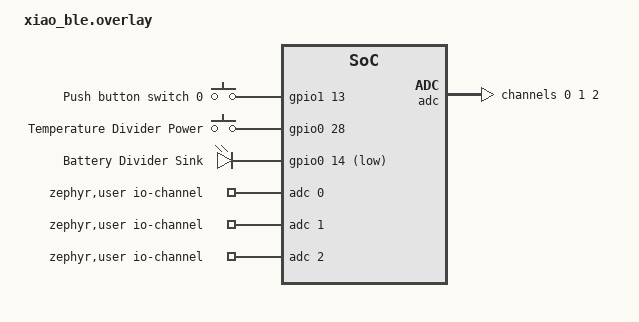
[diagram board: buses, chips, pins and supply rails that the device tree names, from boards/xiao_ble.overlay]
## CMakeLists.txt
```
#
# Copyright (c) 2021 Nordic Semiconductor ASA
#
# SPDX-License-Identifier: LicenseRef-Nordic-5-Clause
#

cmake_minimum_required(VERSION 3.20.0)

find_package(Zephyr REQUIRED HINTS $ENV{ZEPHYR_BASE})

project("Zigbee application template")

# NORDIC SDK APP START
target_sources(app PRIVATE
  src/main.c
  src/flash.c
)

target_include_directories(app PRIVATE include)
# NORDIC SDK APP END
```

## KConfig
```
# /Kconfig
# this is all you need!
source "Kconfig.zephyr"

menu "FART Sensor"

config REFERENCE_VOLTAGE
	int "The reference voltage"
	range 3000 5000
	default 0

endmenu
```

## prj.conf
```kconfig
#
# Copyright (c) 2021 Nordic Semiconductor ASA
#
# SPDX-License-Identifier: LicenseRef-Nordic-5-Clause
#
CONFIG_NCS_SAMPLES_DEFAULTS=n

CONFIG_UART_INTERRUPT_DRIVEN=y
CONFIG_GPIO=y

CONFIG_HEAP_MEM_POOL_SIZE=2048
CONFIG_MAIN_THREAD_PRIORITY=7

CONFIG_ZIGBEE=y
CONFIG_ZIGBEE_APP_UTILS=y
CONFIG_ZIGBEE_ROLE_ROUTER=n
CONFIG_ZIGBEE_ROLE_END_DEVICE=y

CONFIG_RAM_POWER_DOWN_LIBRARY=y

# Enable DK LED and Buttons library
CONFIG_DK_LIBRARY=y

# This example requires more workqueue stack
CONFIG_SYSTEM_WORKQUEUE_STACK_SIZE=2048

# Enable nRF ECB driver
CONFIG_CRYPTO=y
CONFIG_CRYPTO_NRF_ECB=y
CONFIG_CRYPTO_INIT_PRIORITY=80

# Networking
CONFIG_NET_IPV6=n
CONFIG_NET_IP_ADDR_CHECK=n

CONFIG_NEWLIB_LIBC=y
CONFIG_ADC=y
CONFIG_PWM=n

CONFIG_REFERENCE_VOLTAGE=3300

CONFIG_ZIGBEE_ENABLE_TRACES=n
CONFIG_ZIGBEE_CHANNEL_SELECTION_MODE_MULTI=y

# Switch all of these to n for production
CONFIG_SERIAL=y
CONFIG_CONSOLE=y
CONFIG_UART_CONSOLE=n
CONFIG_LOG_BACKEND_RTT=y
CONFIG_USE_SEGGER_RTT=y
CONFIG_LOG_MODE_IMMEDIATE=y
CONFIG_LOG=y
# end

CONFIG_LOG_BUFFER_SIZE=4048

# # Set to y for debug logging froM ZBoss. n for production
#CONFIG_ZIGBEE_APP_UTILS_LOG_LEVEL_DBG=n
CONFIG_ZBOSS_ERROR_PRINT_TO_LOG=y
# CONFIG_ZBOSS_TRACE_LOG_LEVEL_ERR=y
CONFIG_ZBOSS_TRACE_LOG_LEVEL_INF=y
# CONFIG_ZBOSS_OSIF_LOG_LEVEL_DBG=n
#end

CONFIG_PM_DEVICE=y
CONFIG_PM_CPU_OPS=y
CONFIG_PM_DEVICE_RUNTIME=y
CONFIG_PM_DEVICE_POWER_DOMAIN=y

CONFIG_FACTORY_RESET_PRESS_TIME_SECONDS=10

# From Power Down sample
CONFIG_NRFX_QSPI=y
CONFIG_USB_DEVICE_STACK=n # no in production
CONFIG_DEBUG_OPTIMIZATIONS=n
CONFIG_DEBUG_THREAD_INFO=n
```

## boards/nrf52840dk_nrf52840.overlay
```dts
/*
 * SPDX-License-Identifier: Apache-2.0
 *
 * Copyright (c) 2022 Nordic Semiconductor ASA
 */

/ {
	gpio_custom {
		compatible = "gpio-leds";
		battery_divider_sink: battery_divider_sink {
		  gpios = <&gpio0 14 GPIO_ACTIVE_LOW>;
		  label = "Battery Divider Sink";
		};
	};

	power {
		compatible = "gpio-keys";
		temperature_divider_power: temperature_divider_power {
			gpios = <&gpio0 28 (GPIO_PULL_DOWN | GPIO_ACTIVE_HIGH)>;
			label = "Temperature Divider Power";
		};
	};

	zephyr,user {
		io-channels = <&adc 0>, <&adc 1>, <&adc 2>;
	};
};

&adc {
	#address-cells = <1>;
	#size-cells = <0>;

	channel@0 {
		reg = <0>;
		zephyr,gain = "ADC_GAIN_1_5";
		zephyr,reference = "ADC_REF_INTERNAL";
		zephyr,acquisition-time = <ADC_ACQ_TIME_DEFAULT>;
		zephyr,input-positive = <NRF_SAADC_AIN1>;
		zephyr,resolution = <12>;
		zephyr,oversampling = <8>;
	};

	channel@1 {
		reg = <1>;
		zephyr,gain = "ADC_GAIN_1_5";
		zephyr,reference = "ADC_REF_INTERNAL";
		zephyr,acquisition-time = <ADC_ACQ_TIME_DEFAULT>;
		zephyr,input-positive = <NRF_SAADC_AIN2>;
		zephyr,resolution = <12>;
		zephyr,oversampling = <8>;
	};

	channel@2 {
		reg = <2>;
		zephyr,gain = "ADC_GAIN_1_6";
		zephyr,reference = "ADC_REF_INTERNAL";
		zephyr,acquisition-time = <ADC_ACQ_TIME_DEFAULT>;
		zephyr,input-positive = <NRF_SAADC_AIN7>;
		zephyr,resolution = <12>;
		zephyr,oversampling = <8>;
	};
};

&qspi {
	status = "disabled";
};

&spi0 {
	status = "disabled";
};

&spi1 {
	status = "disabled";
};

&spi2 {
	status = "disabled";
};

&spi3 {
	status = "disabled";
};
```

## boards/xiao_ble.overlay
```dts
/*
 * SPDX-License-Identifier: Apache-2.0
 *
 * Copyright (c) 2022 Nordic Semiconductor ASA
 */

/ {

	buttons {
		compatible = "gpio-keys";
		button0: button_0 {
			gpios = <&gpio1 13 (GPIO_PULL_DOWN | GPIO_ACTIVE_HIGH)>;
			label = "Push button switch 0";
			zephyr,code = <INPUT_KEY_0>;
		};
	};

	power {
		compatible = "gpio-keys";
		temperature_divider_power: temperature_divider_power {
			gpios = <&gpio0 28 (GPIO_PULL_DOWN | GPIO_ACTIVE_HIGH)>;
			label = "Temperature Divider Power";
		};
	};

	gpio_custom {
		compatible = "gpio-leds";
		battery_divider_sink: battery_divider_sink {
		  gpios = <&gpio0 14 GPIO_ACTIVE_LOW>;
		  label = "Battery Divider Sink";
		};
	};

	zephyr,user {
		io-channels = <&adc 0>, <&adc 1>, <&adc 2>;
	};

	aliases {
		sw0 = &button0;
	};
};

&adc {
	#address-cells = <1>;
	#size-cells = <0>;

	channel@0 {
		reg = <0>;
		zephyr,gain = "ADC_GAIN_1_5";
		zephyr,reference = "ADC_REF_INTERNAL";
		zephyr,acquisition-time = <ADC_ACQ_TIME_DEFAULT>;
		zephyr,input-positive = <NRF_SAADC_AIN1>;
		zephyr,resolution = <12>;
		zephyr,oversampling = <8>;
	};

	channel@1 {
		reg = <1>;
		zephyr,gain = "ADC_GAIN_1_5";
		zephyr,reference = "ADC_REF_INTERNAL";
		zephyr,acquisition-time = <ADC_ACQ_TIME_DEFAULT>;
		zephyr,input-positive = <NRF_SAADC_AIN5>;
		zephyr,resolution = <12>;
		zephyr,oversampling = <8>;
	};

	channel@2 {
		reg = <2>;
		zephyr,gain = "ADC_GAIN_1_6";
		zephyr,reference = "ADC_REF_INTERNAL";
		zephyr,acquisition-time = <ADC_ACQ_TIME_DEFAULT>;
		zephyr,input-positive = <NRF_SAADC_AIN7>;
		zephyr,resolution = <12>;
		zephyr,oversampling = <8>;
	};
};

&qspi {
    status = "disabled";
};

&spi0 {
	status = "disabled";
};

&spi1 {
	status = "disabled";
};

&spi2 {
	status = "disabled";
};

&spi3 {
	status = "disabled";
};

&i2c1 {
	status = "disabled";
};
```

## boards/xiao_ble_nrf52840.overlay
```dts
/*
 * SPDX-License-Identifier: Apache-2.0
 *
 * Copyright (c) 2022 Nordic Semiconductor ASA
 */

/ {

	// vbatt {
	// 	compatible = "voltage-divider";
	// 	io-channels = <&adc 2>;
	// 	output-ohms = <510000>;
	// 	full-ohms =  <1510000>;
	// 	power-gpios = <&gpio0 14 0>;
	// };

	buttons {
		compatible = "gpio-keys";
		button0: button_0 {
			gpios = <&gpio1 13 (GPIO_PULL_DOWN | GPIO_ACTIVE_HIGH)>;
			label = "Push button switch 0";
			zephyr,code = <INPUT_KEY_0>;
		};
	};

	power {
		compatible = "gpio-keys";
		temperature_divider_power: temperature_divider_power {
			gpios = <&gpio0 28 (GPIO_PULL_DOWN | GPIO_ACTIVE_HIGH)>;
			label = "Temperature Divider Power";
		};
	};

	gpio_custom {
		compatible = "gpio-leds";
		battery_divider_sink: battery_divider_sink {
		  gpios = <&gpio0 14 GPIO_ACTIVE_LOW>;
		  label = "Battery Divider Sink";
		};
	};

	zephyr,user {
		io-channels = <&adc 0>, <&adc 1>, <&adc 2>;
	};

	aliases {
		sw0 = &button0;
	};
};

&adc {
	#address-cells = <1>;
	#size-cells = <0>;

	channel@0 {
		reg = <0>;
		zephyr,gain = "ADC_GAIN_1_5";
		zephyr,reference = "ADC_REF_INTERNAL";
		zephyr,acquisition-time = <ADC_ACQ_TIME_DEFAULT>;
		zephyr,input-positive = <NRF_SAADC_AIN1>;
		zephyr,resolution = <12>;
		zephyr,oversampling = <8>;
	};

	channel@1 {
		reg = <1>;
		zephyr,gain = "ADC_GAIN_1_5";
		zephyr,reference = "ADC_REF_INTERNAL";
		zephyr,acquisition-time = <ADC_ACQ_TIME_DEFAULT>;
		zephyr,input-positive = <NRF_SAADC_AIN5>;
		zephyr,resolution = <12>;
		zephyr,oversampling = <8>;
	};

	channel@2 {
		reg = <2>;
		zephyr,gain = "ADC_GAIN_1_6";
		zephyr,reference = "ADC_REF_INTERNAL";
		zephyr,acquisition-time = <ADC_ACQ_TIME_DEFAULT>;
		zephyr,input-positive = <NRF_SAADC_AIN7>;
		zephyr,resolution = <12>;
		zephyr,oversampling = <8>;
	};
};

&qspi {
    status = "disabled";
};

&spi0 {
	status = "disabled";
};

&spi1 {
	status = "disabled";
};

&spi2 {
	status = "disabled";
};

&spi3 {
	status = "disabled";
};

&i2c1 {
	status = "disabled";
};
```

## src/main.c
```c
/*
 * Copyright (c) Cold Bear Ltd
 *
 * SPDX-License-Identifier: MIT
 */

#include <zephyr/kernel.h>
#include <zephyr/logging/log.h>
#include <zephyr/device.h>
#include <zephyr/devicetree.h>
#include <zephyr/drivers/adc.h>
#include <zephyr/drivers/gpio.h>
#include <zephyr/settings/settings.h>
#include <zephyr/pm/policy.h>
#include <zboss_api.h>
#include <zboss_api_addons.h>
#include <zigbee/zigbee_app_utils.h>
#include <zigbee/zigbee_error_handler.h>
#include <zb_nrf_platform.h>
#include <zb_zcl_reporting.h>
#include <zb_nrf_platform.h>

#include "ha/zb_ha_temperature_sensor.h"

#include <math.h>

#include <dk_buttons_and_leds.h>
#include <ram_pwrdn.h>

#include "flash.h"

#define BLUE_LED_NODE DT_ALIAS(led2)
#define TEMPERATURE_DIVIDER_POWER_NODE DT_NODELABEL(temperature_divider_power)
#define ACTION_BUTTON_NODE DT_ALIAS(sw0)
#define BATTERY_DIVIDER_SINK_NODE DT_NODELABEL(battery_divider_sink)

// The default minimum reporting for temperature is 30 seconds.
//
#define RUN_READ_PROBES_INTERVAL_SEC 30

// The default minimum reporting for temperature is 1 hour.
//
#define RUN_READ_BATTERY_INTERVAL_SEC 5 // 3600

#define ZCL_TEMPERATURE_MEASUREMENT_MEASURED_VALUE_MULTIPLIER 100

#define INIT_BASIC_POWER_SOURCE ZB_ZCL_BASIC_POWER_SOURCE_BATTERY

#define INIT_BASIC_MANUF_NAME "coldbear"
#define INIT_BASIC_MODEL_ID "FART Sensor"
#define INIT_BASIC_HW_VERSION 11
#define INIT_BASIC_SW_VERSION "v0.1"
#define INIT_BASIC_APP_VERSION 01
#define INIT_BASIC_STACK_VERSION 10

#define FART_ENDPOINT 1
#define PROBE_1_ENDPOINT 5
#define PROBE_2_ENDPOINT 7

#define BATTERY_ADC_CHANNEL 2

#define DT_SPEC_AND_COMMA(node_id, prop, idx) ADC_DT_SPEC_GET_BY_IDX(node_id, idx),

static const struct adc_dt_spec adc_channels[] = {DT_FOREACH_PROP_ELEM(DT_PATH(zephyr_user), io_channels, DT_SPEC_AND_COMMA)};

static const struct adc_dt_spec adc_channels[];

// TODO Move this to configuration, so they can be easily changed.
//
#define THERMISTORNOMINAL 10000
#define TEMPERATURENOMINAL 25
#define BCOEFFICIENT 3977
#define SERIESRESISTOR 10000

static const struct gpio_dt_spec blue_led = GPIO_DT_SPEC_GET(BLUE_LED_NODE, gpios);
static const struct gpio_dt_spec temperatures_divider_power = GPIO_DT_SPEC_GET(TEMPERATURE_DIVIDER_POWER_NODE, gpios);
static const struct gpio_dt_spec battery_divider_sink = GPIO_DT_SPEC_GET(BATTERY_DIVIDER_SINK_NODE, gpios);

LOG_MODULE_REGISTER(app, LOG_LEVEL_DBG);

typedef struct
{
	zb_uint8_t battery_voltage;
	zb_uint8_t battery_size;
	zb_uint8_t battery_quantity;
	zb_uint8_t battery_rated_voltage;
	zb_uint8_t battery_alarm_mask;
	zb_uint8_t battery_voltage_min_threshold;
	zb_uint8_t battery_percentage_remaining;
	zb_uint8_t battery_voltage_threshold1;
	zb_uint8_t battery_voltage_threshold2;
	zb_uint8_t battery_voltage_threshold3;
	zb_uint8_t battery_percentage_min_threshold;
	zb_uint8_t battery_percentage_threshold1;
	zb_uint8_t battery_percentage_threshold2;
	zb_uint8_t battery_percentage_threshold3;
	zb_uint32_t battery_alarm_state;

} zb_zcl_power_config_battery_attrs_t;

struct zb_device_ctx
{
	zb_zcl_basic_attrs_ext_t basic_attr;
	zb_zcl_identify_attrs_t identify_attr;
	zb_zcl_temp_measurement_attrs_t probe_1_measure_attrs;
	zb_zcl_temp_measurement_attrs_t probe_2_measure_attrs;
	zb_zcl_power_config_battery_attrs_t power_config_attrs;
};

static struct zb_device_ctx dev_ctx;

struct battery_level_point
{
	// Percentage at #lvl_mV.
	uint8_t lvl_percentage;

	// Voltage at #lvl_percentage remaining life. */
	uint16_t lvl_mV;
};

/** A discharge curve specific to the power source. */
static const struct battery_level_point levels[] = {
	/* "Curve" here eyeballed from captured data for the [Adafruit
	 * 3.7v 2000 mAh](https://www.adafruit.com/product/2011) LIPO
	 * under full load that started with a charge of 3.96 V and
	 * dropped about linearly to 3.58 V over 15 hours.  It then
	 * dropped rapidly to 3.10 V over one hour, at which point it
	 * stopped transmitting.
	 *
	 * Based on eyeball comparisons we'll say that 15/16 of life
	 * goes between 3.95 and 3.55 V, and 1/16 goes between 3.55 V
	 * and 3.1 V.
	 */

	{100, 3700},
	{6, 3550},
	{0, 3100},
};

//------------
// Prototypes
//

void zboss_signal_handler(zb_bufid_t bufid);
static void zcl_device_cb(zb_bufid_t bufid);
static void configure_gpio(void);
static void start_identifying(zb_bufid_t bufid);
static void app_clusters_attr_init(void);
static void start_identifying(zb_bufid_t bufid);
static void identify_cb(zb_bufid_t bufid);
static void button_handler(uint32_t button_state, uint32_t has_changed);
static void slowly_toggle_identify_led(zb_bufid_t bufid);
static void read_battery();
static void read_temperatures();

ZB_ZCL_DECLARE_IDENTIFY_ATTRIB_LIST(
	identify_attr_list,
	&dev_ctx.identify_attr.identify_time);

ZB_ZCL_DECLARE_BASIC_ATTRIB_LIST_EXT(
	ext_attr_list,
	&dev_ctx.basic_attr.zcl_version,
	&dev_ctx.basic_attr.app_version,
	&dev_ctx.basic_attr.stack_version,
	&dev_ctx.basic_attr.hw_version,
	&dev_ctx.basic_attr.mf_name,
	&dev_ctx.basic_attr.model_id,
	&dev_ctx.basic_attr.zcl_version,
	&dev_ctx.basic_attr.power_source,
	&dev_ctx.basic_attr.location_id,
	&dev_ctx.basic_attr.ph_env,
	&dev_ctx.basic_attr.sw_ver);

// This must be declared for compilate to succeed.
// https://devzone.nordicsemi.com/f/nordic-q-a/85315/zboss-declare-power-config-attribute-list-for-battery-bat_num
#define bat_num

ZB_ZCL_DECLARE_POWER_CONFIG_BATTERY_ATTRIB_LIST_EXT(power_config_attr_list,
													&dev_ctx.power_config_attrs.battery_voltage,
													&dev_ctx.power_config_attrs.battery_size,
													&dev_ctx.power_config_attrs.battery_quantity,
													&dev_ctx.power_config_attrs.battery_rated_voltage,
													&dev_ctx.power_config_attrs.battery_alarm_mask,
													&dev_ctx.power_config_attrs.battery_voltage_min_threshold,
													&dev_ctx.power_config_attrs.battery_percentage_remaining,
													&dev_ctx.power_config_attrs.battery_voltage_threshold1,
													&dev_ctx.power_config_attrs.battery_voltage_threshold2,
													&dev_ctx.power_config_attrs.battery_voltage_threshold3,
													&dev_ctx.power_config_attrs.battery_percentage_min_threshold,
													&dev_ctx.power_config_attrs.battery_percentage_threshold1,
													&dev_ctx.power_config_attrs.battery_percentage_threshold2,
													&dev_ctx.power_config_attrs.battery_percentage_threshold3,
													&dev_ctx.power_config_attrs.battery_alarm_state);

ZB_ZCL_DECLARE_FART_SENSOR_CLUSTER_LIST(fart_sensor_clusters, ext_attr_list, identify_attr_list, power_config_attr_list);
ZB_HA_DECLARE_FART_SENSOR_EP(fart_sensor_ep, FART_ENDPOINT, fart_sensor_clusters);

ZB_ZCL_DECLARE_TEMP_MEASUREMENT_ATTRIB_LIST(temp_measurement_attr_list_1,
											&dev_ctx.probe_1_measure_attrs.measure_value,
											&dev_ctx.probe_1_measure_attrs.min_measure_value,
											&dev_ctx.probe_1_measure_attrs.max_measure_value,
											&dev_ctx.probe_1_measure_attrs.tolerance);

ZB_HA_DECLARE_TEMPERATURE_SENSOR_CLUSTER_LIST(temperature_sensor_clusters_1, temp_measurement_attr_list_1);
ZB_HA_DECLARE_TEMPERATURE_SENSOR_EP_1(temperature_sensor_ep_one, PROBE_1_ENDPOINT, temperature_sensor_clusters_1);

ZB_ZCL_DECLARE_TEMP_MEASUREMENT_ATTRIB_LIST(temp_measurement_attr_list_2,
											&dev_ctx.probe_2_measure_attrs.measure_value,
											&dev_ctx.probe_2_measure_attrs.min_measure_value,
											&dev_ctx.probe_2_measure_attrs.max_measure_value,
											&dev_ctx.probe_2_measure_attrs.tolerance);

ZB_HA_DECLARE_TEMPERATURE_SENSOR_CLUSTER_LIST(temperature_sensor_clusters_2, temp_measurement_attr_list_2);
ZB_HA_DECLARE_TEMPERATURE_SENSOR_EP_2(temperature_sensor_ep_two, PROBE_2_ENDPOINT, temperature_sensor_clusters_2);

ZBOSS_DECLARE_DEVICE_CTX_3_EP(device_ctx, fart_sensor_ep, temperature_sensor_ep_one, temperature_sensor_ep_two);

// Taken from https://forum.seeedstudio.com/t/low-power-with-xiao-nrf52840-on-zephyr-rtos/270491/5
/* Prevent deep sleep (system off) from being entered on long timeouts
 * or `K_FOREVER` due to the default residency policy.
 *
 * This has to be done before anything tries to sleep, which means
 * before the threading system starts up between PRE_KERNEL_2 and
 * POST_KERNEL.  Do it at the start of PRE_KERNEL_2.
 */
static int disable_ds_1(const struct device *dev)
{
	ARG_UNUSED(dev);

	pm_policy_state_lock_get(PM_STATE_SOFT_OFF, PM_ALL_SUBSTATES);
	return 0;
}

SYS_INIT(disable_ds_1, PRE_KERNEL_2, 0);

//zigbee_state_e zigbee_state = ZIGBEE_STEERING;

static void app_loop(zb_bufid_t bufid)
{
	int32_t battery_mv = 0;
	
	LOG_INF("APP_LOOP");

	//if (zigbee_state == ZIGBEE_JOINED)
	if(ZB_JOINED())
	{
		LOG_INF("Updating sensor values");

		read_temperatures();
		read_battery();

		ZB_SCHEDULE_APP_ALARM(app_loop, bufid, ZB_MILLISECONDS_TO_BEACON_INTERVAL(RUN_READ_PROBES_INTERVAL_SEC * 1000));
	}
	// else if (zigbee_state == ZIGBEE_ERROR)
	// {
	// 	// Do not reschedule and wait for a factory reset
	// 	return;
	// }
	else
	{
		ZB_SCHEDULE_APP_ALARM(app_loop, bufid, ZB_MILLISECONDS_TO_BEACON_INTERVAL(1000));
	}
}

int main(void)
{
	LOG_INF("Starting Zigbee FART Sensor");

	int rc;

	// Taken from https://forum.seeedstudio.com/t/low-power-with-xiao-nrf52840-on-zephyr-rtos/270491/5
	// This turns off the QSPI flash and reduces power consumption.
	//
	da_flash_init();
	da_flash_command(0xB9);
	da_flash_uninit();

	configure_gpio();

	// WTF does "1" represent? It's the button's "state" value. The mask?
	//
	register_factory_reset_button(4);

	zb_set_ed_timeout(ED_AGING_TIMEOUT_64MIN);

	zb_set_keepalive_timeout(ZB_MILLISECONDS_TO_BEACON_INTERVAL(60000));

	zb_set_rx_on_when_idle(ZB_FALSE);

	ZB_ZCL_REGISTER_DEVICE_CB(zcl_device_cb);

	ZB_AF_REGISTER_DEVICE_CTX(&device_ctx);

	app_clusters_attr_init();

	ZB_AF_SET_IDENTIFY_NOTIFICATION_HANDLER(FART_ENDPOINT, identify_cb);

	zb_bdb_set_legacy_device_support(1);

	zigbee_configure_sleepy_behavior(true);

	power_down_unused_ram();

	for (size_t i = 0U; i < ARRAY_SIZE(adc_channels); i++)
	{
		if (!device_is_ready(adc_channels[i].dev))
		{
			LOG_ERR("ADC controller device not ready");
			return -1;
		}

		rc = adc_channel_setup_dt(&adc_channels[i]);

		if (rc < 0)
		{
			LOG_ERR("Could not setup channel #%d (%d)", i, rc);
			return -1;
		}

		LOG_INF("Setup channel #%d (%d)", i, rc);
	}

	// nrf_802154_tx_power_set(8);

	zigbee_enable();

	// Start the app loop.
	//
	ZB_SCHEDULE_APP_ALARM(app_loop, ZB_ALARM_ANY_PARAM, ZB_MILLISECONDS_TO_BEACON_INTERVAL(0)); 

	// Start the LED slowly blinking
	//
	//ZB_SCHEDULE_APP_CALLBACK(slowly_toggle_identify_led, ZB_ALARM_ANY_PARAM);

	// Zigbee will take it from here. Put this thread to sleep forever
	//
	while (1)
	{
		LOG_INF("Everything is setup. Main thread will now go to sleep");
		k_sleep(K_FOREVER);
	}
}

static void button_handler(uint32_t button_state, uint32_t has_changed)
{
	LOG_INF("button_handler: %d", button_state);

	check_factory_reset_button(button_state, has_changed);

	user_input_indicate();

	// Maybe turn the light green or indicate the active probe??
	// Red mean probe 1 is flow, green means probe 2 is flow?
}

static void app_clusters_attr_init(void)
{
	dev_ctx.basic_attr.zcl_version = ZB_ZCL_VERSION;
	dev_ctx.basic_attr.power_source = INIT_BASIC_POWER_SOURCE;
	dev_ctx.basic_attr.stack_version = INIT_BASIC_STACK_VERSION;
	dev_ctx.basic_attr.hw_version = INIT_BASIC_HW_VERSION;
	dev_ctx.basic_attr.power_source = ZB_ZCL_BASIC_POWER_SOURCE_BATTERY;
	dev_ctx.basic_attr.ph_env = ZB_ZCL_BASIC_ENV_UNSPECIFIED;

	dev_ctx.identify_attr.identify_time = ZB_ZCL_IDENTIFY_IDENTIFY_TIME_DEFAULT_VALUE;

	ZB_ZCL_SET_STRING_VAL(
		dev_ctx.basic_attr.mf_name,
		INIT_BASIC_MANUF_NAME,
		ZB_ZCL_STRING_CONST_SIZE(INIT_BASIC_MANUF_NAME));

	ZB_ZCL_SET_STRING_VAL(
		dev_ctx.basic_attr.model_id,
		INIT_BASIC_MODEL_ID,
		ZB_ZCL_STRING_CONST_SIZE(INIT_BASIC_MODEL_ID));

	// Set the measurements to zero.
	//
	dev_ctx.probe_1_measure_attrs.measure_value = 0;
	dev_ctx.probe_2_measure_attrs.measure_value = 0;

	ZB_ZCL_SET_ATTRIBUTE(PROBE_1_ENDPOINT,
						 ZB_ZCL_CLUSTER_ID_TEMP_MEASUREMENT,
						 ZB_ZCL_CLUSTER_SERVER_ROLE,
						 ZB_ZCL_ATTR_TEMP_MEASUREMENT_VALUE_ID,
						 (zb_uint8_t *)&dev_ctx.probe_1_measure_attrs.measure_value,
						 ZB_FALSE);

	ZB_ZCL_SET_ATTRIBUTE(PROBE_2_ENDPOINT,
						 ZB_ZCL_CLUSTER_ID_TEMP_MEASUREMENT,
						 ZB_ZCL_CLUSTER_SERVER_ROLE,
						 ZB_ZCL_ATTR_TEMP_MEASUREMENT_VALUE_ID,
						 (zb_uint8_t *)&dev_ctx.probe_2_measure_attrs.measure_value,
						 ZB_FALSE);

	// Set battery measurements
	//
	dev_ctx.power_config_attrs.battery_voltage = ZB_ZCL_POWER_CONFIG_BATTERY_VOLTAGE_INVALID;
	dev_ctx.power_config_attrs.battery_percentage_remaining = ZB_ZCL_POWER_CONFIG_BATTERY_REMAINING_UNKNOWN;
	dev_ctx.power_config_attrs.battery_quantity = 1;
	dev_ctx.power_config_attrs.battery_size = ZB_ZCL_POWER_CONFIG_BATTERY_SIZE_DEFAULT_VALUE;
}

static void configure_gpio(void)
{
	int err;

	err = dk_buttons_init(button_handler);
	if (err)
	{
		LOG_ERR("Cannot init buttons (err: %d)", err);
		return;
	}

	if (!gpio_is_ready_dt(&blue_led))
	{
		LOG_ERR("Blue LED not ready");
		return;
	}

	err = gpio_pin_configure_dt(&blue_led, GPIO_OUTPUT_ACTIVE);
	if (err != 0)
	{
		LOG_ERR("Cannot configure Blue LED (err: %d)", err);
		return;
	}

	if (!gpio_is_ready_dt(&temperatures_divider_power))
	{
		LOG_ERR("Cannot configure Divider Power switch (err: %d)", err);
		return;
	}

	err = gpio_pin_configure_dt(&temperatures_divider_power, GPIO_OUTPUT_INACTIVE);
	if (err != 0)
	{
		LOG_ERR("Configuring Divider Power pin failed (err: %d)", err);
		return;
	}

	err = gpio_pin_configure_dt(&battery_divider_sink, GPIO_OUTPUT_ACTIVE);

	if (err != 0)
	{
		LOG_ERR("Configuring Battery Divider Sink pin failed (err: %d)", err);
		return;
	}

	gpio_pin_set_dt(&battery_divider_sink, 1);
}

/* Rapidly blink an LED */
static void toggle_identify_led(zb_bufid_t bufid)
{
	gpio_pin_toggle_dt(&blue_led);
	ZB_SCHEDULE_APP_ALARM(toggle_identify_led, bufid, ZB_MILLISECONDS_TO_BEACON_INTERVAL(100));
}

/* Slowly blink an LED */
static void slowly_toggle_identify_led(zb_bufid_t bufid)
{
	gpio_pin_toggle_dt(&blue_led);
	ZB_SCHEDULE_APP_ALARM(slowly_toggle_identify_led, bufid, ZB_MILLISECONDS_TO_BEACON_INTERVAL(1000));
}

/* Invoked by ZBOSS. This will be called again with no buffer to turn off the identify mode */
static void identify_cb(zb_bufid_t bufid)
{
	zb_ret_t zb_err_code;

	if (bufid)
	{
		ZB_SCHEDULE_APP_CALLBACK(toggle_identify_led, bufid);
	}
	else
	{
		zb_err_code = ZB_SCHEDULE_APP_ALARM_CANCEL(toggle_identify_led, ZB_ALARM_ANY_PARAM);
		ZVUNUSED(zb_err_code);

		// Ensure the LED is turned off when idenify is done.
		//
		gpio_pin_set_dt(&blue_led, 0);
	}
}

static void start_identifying(zb_bufid_t bufid)
{
	LOG_INF("start_identifying() has been called!");

	ZVUNUSED(bufid);

	if (ZB_JOINED())
	{
		/* Check if endpoint is in identifying mode,
		 * if not put desired endpoint in identifying mode.
		 */
		if (dev_ctx.identify_attr.identify_time == ZB_ZCL_IDENTIFY_IDENTIFY_TIME_DEFAULT_VALUE)
		{
			zb_ret_t zb_err_code = zb_bdb_finding_binding_target(PROBE_1_ENDPOINT);

			if (zb_err_code == RET_OK)
			{
				LOG_INF("Enter identify mode");
			}
			else if (zb_err_code == RET_INVALID_STATE)
			{
				LOG_WRN("RET_INVALID_STATE - Cannot enter identify mode");
			}
			else
			{
				ZB_ERROR_CHECK(zb_err_code);
			}
		}
		else
		{
			LOG_INF("Cancel identify mode");
			zb_bdb_finding_binding_target_cancel();
		}
	}
	else
	{
		LOG_WRN("Device not in a network - cannot enter identify mode");
	}
}

void zboss_signal_handler(zb_uint8_t param)
{
	zb_zdo_app_signal_hdr_t *sig_hndler = NULL;
	zb_zdo_app_signal_type_t sig = zb_get_app_signal(param, &sig_hndler);
	zb_ret_t status = ZB_GET_APP_SIGNAL_STATUS(param);

	LOG_INF("ZB signal (%u, status: %d)", sig, status);

	zigbee_default_signal_handler(param);

	switch (sig)
	{
	case ZB_BDB_SIGNAL_DEVICE_FIRST_START:
	case ZB_BDB_SIGNAL_DEVICE_REBOOT:
	{
		LOG_INF("Device starting or rebooting");

		// All connected!
		//
		// ZB_SCHEDULE_APP_ALARM_CANCEL(slowly_toggle_identify_led, ZB_ALARM_ANY_PARAM);

		// Ensure the LED is turned off
		//
		gpio_pin_set_dt(&blue_led, 0);
	}
	break;
	case ZB_DEVICE_LEFT:
	{
		LOG_INF("Device has left the network");

		// We have been cut loose. Blink the light
		//
		// ZB_SCHEDULE_APP_CALLBACK(slowly_toggle_identify_led, ZB_ALARM_ANY_PARAM);
	}
	break;
	case ZB_COMMON_SIGNAL_CAN_SLEEP:
	{
		zb_zdo_signal_can_sleep_params_t *can_sleep_params = ZB_ZDO_SIGNAL_GET_PARAMS(sig_hndler, zb_zdo_signal_can_sleep_params_t);
		LOG_INF("Device can sleep for %d ms", can_sleep_params->sleep_tmo);
		zb_sleep_now();
	}
	break;
	}

	zb_buf_free(param);
}

static void zcl_device_cb(zb_bufid_t bufid)
{
	zb_zcl_device_callback_param_t *device_cb_param = ZB_BUF_GET_PARAM(bufid, zb_zcl_device_callback_param_t);

	LOG_INF("%s id %hd", __func__, device_cb_param->device_cb_id);

	device_cb_param->status = RET_OK;
}

int16_t temperature_buf;

struct adc_sequence temperature_sequence = {
	.buffer = &temperature_buf,
	.buffer_size = sizeof(temperature_buf),
	.calibrate = true,
};

int16_t battery_buf;

struct adc_sequence battery_sequence = {
	.buffer = &battery_buf,
	.buffer_size = sizeof(battery_buf),
	.calibrate = true,
};

// The ADC has 4096 levels. The reference volage depends on the gain
//
float mv_per_lsb = 3000.0F / 4096.0F;	   // 0.6 / (1/5) = 3
float batt_mv_per_lsb = 3600.0F / 4096.0F; // 0.6 / (1/6) = 3.6

// The battery voltage divider is 1mOhm vs 510kOhm
//
static const float battery_divider_factor = 1510.0 / 510.0;

static uint16_t read_temperature(int i)
{
	int err = adc_sequence_init_dt(&adc_channels[i], &temperature_sequence);

	if (err < 0)
	{
		LOG_ERR("Could initialise ADC%d (%d)", i, err);
		return -1;
	}

	err = adc_read(adc_channels[i].dev, &temperature_sequence);

	if (err < 0)
	{
		LOG_ERR("Could not read ADC%d (%d)", i, err);
		return -1;
	}

	int32_t adc_reading = temperature_buf;

	int32_t val_mv = (float)adc_reading * mv_per_lsb;

	float reading = (val_mv * SERIESRESISTOR) / (CONFIG_REFERENCE_VOLTAGE - val_mv);

	double steinhart;
	steinhart = reading / THERMISTORNOMINAL;		  // (R/Ro)
	steinhart = log(steinhart);						  // ln(R/Ro)
	steinhart /= BCOEFFICIENT;						  // 1/B * ln(R/Ro)
	steinhart += 1.0 / (TEMPERATURENOMINAL + 273.15); // + (1/To)
	steinhart = 1.0 / steinhart;					  // Invert
	steinhart -= 273.15;							  // Convert to Celcius

	uint16_t value = (uint16_t)(steinhart);

	LOG_INF("ADC CHANNEL %d", i);
	LOG_INF("A: %d", adc_reading);
	LOG_INF("V: %d", val_mv);
	LOG_INF("R: %d", (int)reading);
	LOG_INF("T: %d", value);

	return value;
}

// This code comes from the Zephyr Battery sample.
//
uint8_t get_battery_percentage(unsigned int batt_mV, const struct battery_level_point *curve)
{
	const struct battery_level_point *pb = curve;

	if (batt_mV >= pb->lvl_mV)
	{
		LOG_DBG("mV is above maximum configured, so cap at maximum %d %%", pb->lvl_percentage);
		return pb->lvl_percentage;
	}

	/* Go down to the last point at or below the measured voltage. */
	while ((pb->lvl_percentage > 0) && (batt_mV < pb->lvl_mV))
	{
		++pb;
	}

	if (batt_mV < pb->lvl_mV)
	{
		LOG_DBG("mV is below minimum configured, so cap at minimum");
		return pb->lvl_percentage;
	}

	/* Linear interpolation between below and above points. */
	const struct battery_level_point *pa = pb - 1;

	return pb->lvl_percentage + ((pa->lvl_percentage - pb->lvl_percentage) * (batt_mV - pb->lvl_mV) / (pa->lvl_mV - pb->lvl_mV));
}

static void read_battery()
{
	int err = adc_sequence_init_dt(&adc_channels[BATTERY_ADC_CHANNEL], &battery_sequence);

	if (err < 0)
	{
		LOG_ERR("Could initialise ADC%d (%d)", BATTERY_ADC_CHANNEL, err);
		return -1;
	}

	err = adc_read(adc_channels[BATTERY_ADC_CHANNEL].dev, &battery_sequence);

	if (err < 0)
	{
		LOG_ERR("Could not read ADC%d (%d)", BATTERY_ADC_CHANNEL, err);
		return -1;
	}

	int16_t adc_reading = battery_buf;

	int16_t batt_mV = (float)adc_reading * batt_mv_per_lsb;

	batt_mV = batt_mV * battery_divider_factor;

	uint8_t batt_percentage = get_battery_percentage(batt_mV, levels);

	LOG_DBG("Battery: %d lvl; %d mV; %d %%", adc_reading, batt_mV, batt_percentage);

	// Convert from a percentage to a Zigbee battery level!
	// 200 = 100%, 100 = 50% so multiple by 2.
	//
	zb_uint8_t zigbee_batt_percentage = batt_percentage * 2;

	zb_zcl_status_t status = zb_zcl_set_attr_val(FART_ENDPOINT,
												 ZB_ZCL_CLUSTER_ID_POWER_CONFIG,
												 ZB_ZCL_CLUSTER_SERVER_ROLE,
												 ZB_ZCL_ATTR_POWER_CONFIG_BATTERY_PERCENTAGE_REMAINING_ID,
												 &zigbee_batt_percentage,
												 ZB_FALSE);

	if (status != ZB_ZCL_STATUS_SUCCESS)
	{
		LOG_ERR("Failed to write to Battery Percentage Remaining Attribute");
	}
}

static void read_temperatures()
{
	// Switch on the power pin.
	//
	gpio_pin_set_dt(&temperatures_divider_power, 1);

	// Let the voltage stabalise??.
	//
	k_sleep(K_MSEC(100));

	uint16_t temperature_1 = read_temperature(0);
	uint16_t temperature_2 = read_temperature(1);

	// Switch off the power pin.
	//
	gpio_pin_set_dt(&temperatures_divider_power, 0);

	int16_t temperature_attribute_1 = (int16_t)(temperature_1 * ZCL_TEMPERATURE_MEASUREMENT_MEASURED_VALUE_MULTIPLIER);

	zb_zcl_status_t status1 = zb_zcl_set_attr_val(PROBE_1_ENDPOINT,
												  ZB_ZCL_CLUSTER_ID_TEMP_MEASUREMENT,
												  ZB_ZCL_CLUSTER_SERVER_ROLE,
												  ZB_ZCL_ATTR_TEMP_MEASUREMENT_VALUE_ID,
												  (zb_uint8_t *)&temperature_attribute_1,
												  ZB_FALSE);

	if (status1 != ZB_ZCL_STATUS_SUCCESS)
	{
		LOG_ERR("Failed to write to Endpoint 1 Attribute");
	}

	int16_t temperature_attribute_2 = (int16_t)(temperature_2 * ZCL_TEMPERATURE_MEASUREMENT_MEASURED_VALUE_MULTIPLIER);

	zb_zcl_status_t status2 = zb_zcl_set_attr_val(PROBE_2_ENDPOINT,
												  ZB_ZCL_CLUSTER_ID_TEMP_MEASUREMENT,
												  ZB_ZCL_CLUSTER_SERVER_ROLE,
												  ZB_ZCL_ATTR_TEMP_MEASUREMENT_VALUE_ID,
												  (zb_uint8_t *)&temperature_attribute_2,
												  ZB_FALSE);

	if (status2 != ZB_ZCL_STATUS_SUCCESS)
	{
		LOG_ERR("Failed to write to Endpoint 2 Attribute");
	}
}
```

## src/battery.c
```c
/*
 * Copyright (c) 2018-2019 Peter Bigot Consulting, LLC
 * Copyright (c) 2019-2020 Nordic Semiconductor ASA
 *
 * SPDX-License-Identifier: Apache-2.0
 */

#include <math.h>
#include <stdio.h>
#include <stdlib.h>

#include <zephyr/kernel.h>
#include <zephyr/init.h>
#include <zephyr/drivers/gpio.h>
#include <zephyr/drivers/adc.h>
#include <zephyr/drivers/sensor.h>
#include <zephyr/logging/log.h>
#include <zephyr/devicetree.h>

#include "battery.h"

LOG_MODULE_REGISTER(BATTERY, CONFIG_ADC_LOG_LEVEL);

// #define VBATT DT_PATH(vbatt)
// #define ZEPHYR_USER DT_PATH(zephyr_user)

// #define BATTERY_ADC_GAIN ADC_GAIN_1_6

// struct io_channel_config
// {
// 	uint8_t channel;
// };

// struct divider_config
// {
// 	struct io_channel_config io_channel;
// 	struct gpio_dt_spec power_gpios;
// 	uint32_t output_ohm;
// 	uint32_t full_ohm;
// };

// static const struct divider_config divider_config = {
// 	.io_channel = {
// 		DT_IO_CHANNELS_INPUT(VBATT),
// 	},
// 	.power_gpios = GPIO_DT_SPEC_GET_OR(VBATT, power_gpios, {}),
// 	.output_ohm = DT_PROP(VBATT, output_ohms),
// 	.full_ohm = DT_PROP(VBATT, full_ohms),
// };

// struct divider_data
// {
// 	const struct device *adc;
// 	struct adc_channel_cfg adc_cfg;
// 	struct adc_sequence adc_seq;
// 	int16_t raw;
// };

// static struct divider_data divider_data = {
// 	.adc = DEVICE_DT_GET(DT_IO_CHANNELS_CTLR(VBATT)),
// };

// static int divider_setup(void)
// {
// 	const struct divider_config *cfg = &divider_config;
// 	const struct io_channel_config *iocp = &cfg->io_channel;
// 	const struct gpio_dt_spec *gcp = &cfg->power_gpios;
// 	struct divider_data *ddp = &divider_data;
// 	struct adc_sequence *asp = &ddp->adc_seq;
// 	struct adc_channel_cfg *accp = &ddp->adc_cfg;
	
// 	int rc;

// 	if (!device_is_ready(ddp->adc))
// 	{
// 		LOG_ERR("ADC device is not ready %s", ddp->adc->name);
// 		return -ENOENT;
// 	}

// 	LOG_INF("ADC device is ready %s", ddp->adc->name);

// 	if (gcp->port)
// 	{
// 		if (!device_is_ready(gcp->port))
// 		{
// 			LOG_ERR("%s: device not ready", gcp->port->name);
// 			return -ENOENT;
// 		}

// 		rc = gpio_pin_configure_dt(gcp, GPIO_OUTPUT_INACTIVE);

// 		if (rc != 0)
// 		{
// 			LOG_ERR("Failed to control feed %s.%u: %d",	gcp->port->name, gcp->pin, rc);
// 			return rc;
// 		}

// 		LOG_INF("GPIO sink is ready %s", ddp->adc->name);
// 	}

// 	// TODO We need to get an instance of the adc_spec_dt here to setup.
// 	// The channel. 
// 	// The battery sample code sets the channel up manually!
// 	//
// 	//rc = adc_channel_setup_dt(&iocp->channel);

// 	*asp = (struct adc_sequence){
// 		.channels = BIT(2),
// 		.buffer = &ddp->raw,
// 		.buffer_size = sizeof(ddp->raw),
// 		.resolution = 8,
// 		.oversampling = 4,
// 		.calibrate = true
// 	};

// 	*accp = (struct adc_channel_cfg){
// 		.gain = BATTERY_ADC_GAIN,
// 		.reference = ADC_REF_INTERNAL,
// 		.acquisition_time = ADC_ACQ_TIME(ADC_ACQ_TIME_MICROSECONDS, 40),
// 		.input_positive = SAADC_CH_PSELP_PSELP_AnalogInput2 + iocp->channel
// 	};

// 	rc = adc_channel_setup(ddp->adc, accp);
// 	rc = adc_sequence_init_dt(&ddp->adc, asp);
	
// 	LOG_INF("Setup ADC%u got %d", iocp->channel, rc);

// 	return rc;
// }

// // static bool battery_ok;

// // static int battery_setup(void)
// // {
// // 	int rc = divider_setup();

// // 	battery_ok = (rc == 0);

// // 	LOG_INF("Battery setup: %d %d", rc, battery_ok);

// // 	return rc;
// // }

// // SYS_INIT(battery_setup, APPLICATION, CONFIG_APPLICATION_INIT_PRIORITY);


static const struct gpio_dt_spec read_batt = GPIO_DT_SPEC_GET(DT_ALIAS(readbatt), gpios);

int battery_measure_enable()
{
	gpio_pin_configure_dt(&read_batt, GPIO_OUTPUT_ACTIVE);
    gpio_pin_set_dt(&read_batt, 1);

	return 0;
}

// 	// int rc = -ENOENT;

// 	// if (battery_ok)
// 	// {
// 	// 	const struct gpio_dt_spec *gcp = &divider_config.power_gpios;

// 	// 	rc = 0;

// 	// 	if (gcp->port)
// 	// 	{
// 	// 		// The GPIO sink, which sets it to ground.
// 	// 		//
// 	// 		rc = gpio_pin_set_dt(gcp, 0);
// 	// 	}
// 	// }

// 	// return rc;
// }

int battery_sample(void)
{
	int rc = -ENOENT;

	// if (battery_ok)
	// {
	// 	LOG_INF("Divider is configured. Taking a voltage reading...");

	// 	struct divider_data *ddp = &divider_data;
	// 	const struct divider_config *dcp = &divider_config;
	// 	struct adc_sequence *sp = &ddp->adc_seq;

	// 	rc = adc_read(ddp->adc, sp);
		 
	// 	sp->calibrate = false;

	// 	if (rc == 0)
	// 	{
	// 		int32_t val = ddp->raw;

	// 		adc_raw_to_millivolts(adc_ref_internal(ddp->adc),
	// 							  ddp->adc_cfg.gain,
	// 							  sp->resolution,
	// 							  &val);

	// 		if (dcp->output_ohm != 0)
	// 		{
	// 			rc = val * (uint64_t)dcp->full_ohm / dcp->output_ohm;
	// 			LOG_INF("raw %u ~ %u mV => %d mV", ddp->raw, val, rc);
	// 		}
	// 		else
	// 		{
	// 			rc = val;
	// 			LOG_INF("raw %u ~ %u mV", ddp->raw, val);
	// 		}
	// 	}
	// }

	return rc;
}

unsigned int battery_level_pptt(unsigned int batt_mV, const struct battery_level_point *curve)
{
	const struct battery_level_point *pb = curve;

	if (batt_mV >= pb->lvl_mV)
	{
		/* Measured voltage above highest point, cap at maximum. */
		return pb->lvl_pptt;
	}
	/* Go down to the last point at or below the measured voltage. */
	while ((pb->lvl_pptt > 0) && (batt_mV < pb->lvl_mV))
	{
		++pb;
	}
	if (batt_mV < pb->lvl_mV)
	{
		/* Below lowest point, cap at minimum */
		return pb->lvl_pptt;
	}

	/* Linear interpolation between below and above points. */
	const struct battery_level_point *pa = pb - 1;

	return pb->lvl_pptt + ((pa->lvl_pptt - pb->lvl_pptt) * (batt_mV - pb->lvl_mV) / (pa->lvl_mV - pb->lvl_mV));
}
```

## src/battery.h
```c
/*
 * Copyright (c) 2018-2019 Peter Bigot Consulting, LLC
 *
 * SPDX-License-Identifier: Apache-2.0
 */

#ifndef APPLICATION_BATTERY_H_
#define APPLICATION_BATTERY_H_

/** Enable or disable measurement of the battery voltage.
 *
 * @param enable true to enable, false to disable
 *
 * @return zero on success, or a negative error code.
 */
int battery_measure_enable();

/** Measure the battery voltage.
 *
 * @return the battery voltage in millivolts, or a negative error
 * code.
 */
int battery_sample(void);

/** A point in a battery discharge curve sequence.
 *
 * A discharge curve is defined as a sequence of these points, where
 * the first point has #lvl_pptt set to 10000 and the last point has
 * #lvl_pptt set to zero.  Both #lvl_pptt and #lvl_mV should be
 * monotonic decreasing within the sequence.
 */
struct battery_level_point {
	/** Remaining life at #lvl_mV. */
	uint16_t lvl_pptt;

	/** Battery voltage at #lvl_pptt remaining life. */
	uint16_t lvl_mV;
};

/** Calculate the estimated battery level based on a measured voltage.
 *
 * @param batt_mV a measured battery voltage level.
 *
 * @param curve the discharge curve for the type of battery installed
 * on the system.
 *
 * @return the estimated remaining capacity in parts per ten
 * thousand.
 */
unsigned int battery_level_pptt(unsigned int batt_mV,
				const struct battery_level_point *curve);

#endif /* APPLICATION_BATTERY_H_ */
```
